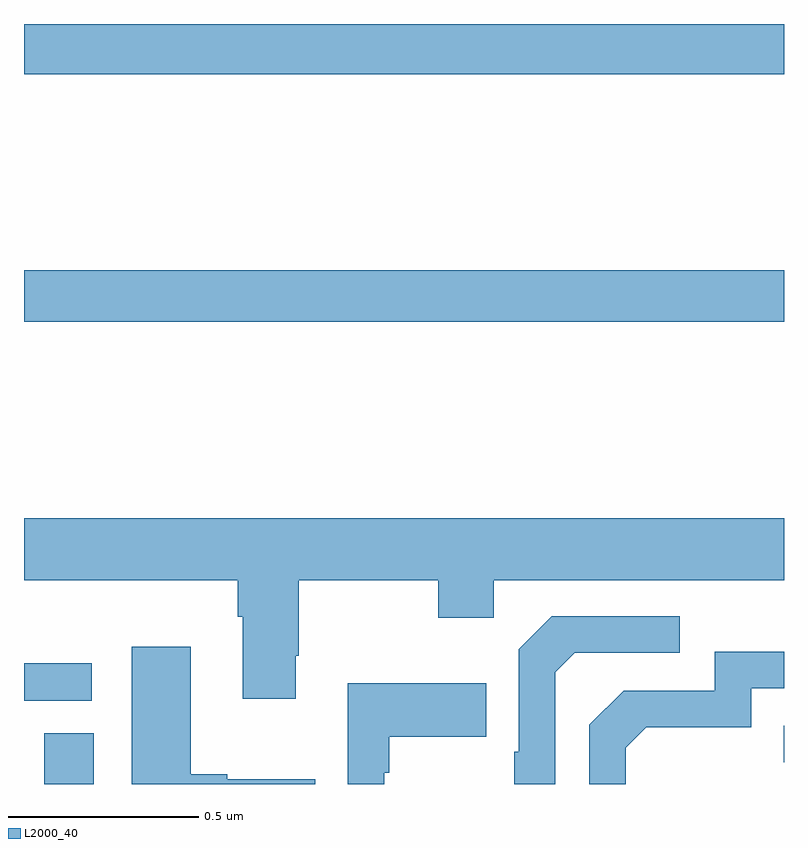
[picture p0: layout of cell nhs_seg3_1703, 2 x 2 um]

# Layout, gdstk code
import gdstk
lib = gdstk.Library(unit=1e-6, precision=1e-09)
def R(c, l, rs):  # rectangles x0, y0, x1, y1
    for r in rs: c.add(gdstk.rectangle(r[:2], r[2:], *l))
def P(c, l, *ps):  # polygons
    for p in ps: c.add(gdstk.Polygon(p, *l))
L2000_40 = (2000, 40)

nhs_seg3_1703 = lib.new_cell('nhs_seg3_1703')
R(nhs_seg3_1703, L2000_40, [(132.053,680.4,132.184,680.534), (133.999,680.457,134,680.553), (132,680.619,132.178,680.718), (132,681.616,134,681.752), (132,682.268,134,682.4)])
P(nhs_seg3_1703, L2000_40, [(132.715,680.737),(132.723,680.737),(132.723,680.936),(133.09,680.936),(133.09,680.837),(133.236,680.837),(133.236,680.936),(134,680.936),(134,681.1),(132,681.1),(132,680.936),(132.563,680.936),(132.563,680.84),(132.575,680.84),(132.575,680.625),(132.715,680.625)],
  [(133.398,680.694),(133.449,680.745),(133.726,680.745),(133.726,680.841),(133.389,680.841),(133.302,680.754),(133.302,680.485),(133.29,680.485),(133.29,680.4),(133.398,680.4)],
  [(132.766,680.413),(132.535,680.413),(132.535,680.426),(132.439,680.426),(132.439,680.761),(132.284,680.761),(132.284,680.4),(132.766,680.4)],
  [(133.584,680.496),(133.637,680.549),(133.914,680.549),(133.914,680.652),(134,680.652),(134,680.748),(133.818,680.748),(133.818,680.646),(133.578,680.646),(133.488,680.556),(133.488,680.4),(133.584,680.4)],
  [(132.948,680.429),(132.961,680.429),(132.961,680.525),(133.217,680.525),(133.217,680.665),(132.852,680.665),(132.852,680.4),(132.948,680.4)])

lib.write_gds('nhs_seg3_1703.gds')
